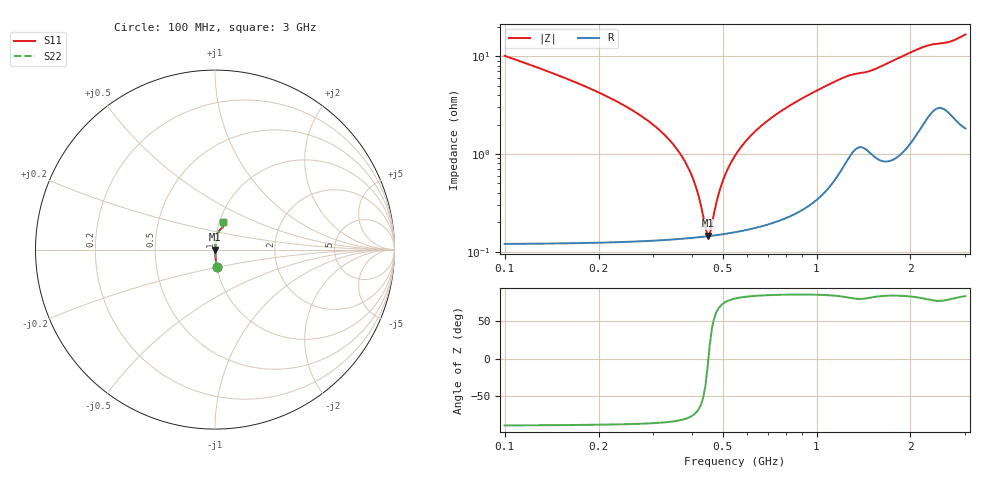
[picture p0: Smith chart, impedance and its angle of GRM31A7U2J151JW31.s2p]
!Murata Part Number: GRM31A7U2J151JW31
!These Parameters are Measured in Series Mode Connection
!Data Generated on Mar 30, 2021
!  o--ll--o
!Port1  Port2
!  o------o
!Operation Temp=25[degC], DC Bias Voltage=0[V]
!Freq. Start=100[MHz] Stop=3[GHz] 401[Steps]
# Hz S RI R 50
!Freq.(Hz) S11(Real) S11(Imag) S21(Real) S21(Imag) S12(Real) S12(Imag) S22(Real) S22(Imag)
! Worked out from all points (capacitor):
!   401 points, 100 MHz to 3 GHz, reference 50 ohm
!   read as one part in series: C = 150 pF near 114.5 MHz
!   lowest |Z| = 146 mohm at 448 MHz (marker M1)
!   series resonance near 450.1 MHz, so ESL is about 830 pH
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1e8  0.0112 -0.0997  0.9888 0.0997  0.9888 0.0997  0.0112 -0.0997
2.885e8  0.00176 -0.0217  0.9982 0.0217  0.9982 0.0217  0.00176 -0.0217
3.465e8  0.00149 -0.0125  0.9985 0.0125  0.9985 0.0125  0.00149 -0.0125
3.755e8  0.00143 -0.00863  0.9986 0.00863  0.9986 0.00863  0.00143 -0.00863
3.9725e8  0.00142 -0.00593  0.9986 0.00593  0.9986 0.00593  0.00142 -0.00593
4.1175e8  0.00141 -0.00423  0.9986 0.00423  0.9986 0.00423  0.00141 -0.00423
4.335e8  0.00142 -0.00178  0.9986 0.00178  0.9986 0.00178  0.00142 -0.00178
4.48e8  0.00144 -0.000222  0.9986 0.000222  0.9986 0.000222  0.00144 -0.000222
4.5525e8  0.00145 0.00054  0.9986 -0.00054  0.9986 -0.00054  0.00145 0.00054
4.625e8  0.00146 0.00129  0.9985 -0.00129  0.9985 -0.00129  0.00146 0.00129
4.915e8  0.00151 0.00419  0.9985 -0.00419  0.9985 -0.00419  0.00151 0.00419
5.1325e8  0.00156 0.00627  0.9984 -0.00627  0.9984 -0.00627  0.00156 0.00627
5.4225e8  0.00165 0.00893  0.9984 -0.00893  0.9984 -0.00893  0.00165 0.00893
5.8575e8  0.00181 0.0127  0.9982 -0.0127  0.9982 -0.0127  0.00181 0.0127
6.655e8  0.00218 0.0193  0.9978 -0.0193  0.9978 -0.0193  0.00218 0.0193
7.67e8  0.00283 0.027  0.9972 -0.027  0.9972 -0.027  0.00283 0.027
1.0715e9  0.00657 0.049  0.9934 -0.049  0.9934 -0.049  0.00657 0.049
1.26e9  0.0125 0.0609  0.9875 -0.0609  0.9875 -0.0609  0.0125 0.0609
1.55e9  0.0143 0.0723  0.9857 -0.0723  0.9857 -0.0723  0.0143 0.0723
2.03575e9  0.0254 0.107  0.9746 -0.107  0.9746 -0.107  0.0254 0.107
2.5215e9  0.0443 0.1231  0.9557 -0.1231  0.9557 -0.1231  0.0443 0.1231
3e9  0.0433 0.1559  0.9567 -0.1559  0.9567 -0.1559  0.0433 0.1559
